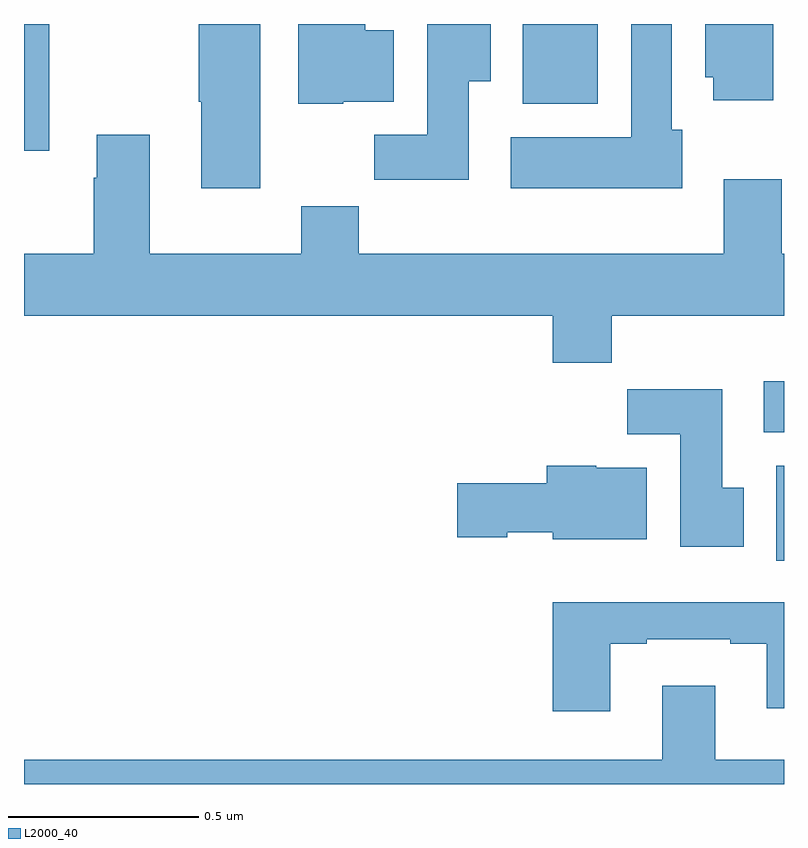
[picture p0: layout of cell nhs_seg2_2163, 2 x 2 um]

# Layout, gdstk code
import gdstk
lib = gdstk.Library(unit=1e-6, precision=1e-09)
def R(c, l, rs):  # rectangles x0, y0, x1, y1
    for r in rs: c.add(gdstk.rectangle(r[:2], r[2:], *l))
def P(c, l, *ps):  # polygons
    for p in ps: c.add(gdstk.Polygon(p, *l))
L2000_40 = (2000, 40)

nhs_seg2_2163 = lib.new_cell('nhs_seg2_2163')
R(nhs_seg2_2163, L2000_40, [(139.979,584.388,140,584.638), (139.947,584.726,140,584.86), (138,585.467,138.067,585.8), (139.313,585.59,139.51,585.8)])
P(nhs_seg2_2163, L2000_40, [(139.171,585.649),(139.228,585.649),(139.228,585.8),(139.061,585.8),(139.061,585.508),(138.922,585.508),(138.922,585.39),(139.171,585.39)],
  [(138.622,585.8),(138.46,585.8),(138.46,585.595),(138.467,585.595),(138.467,585.368),(138.622,585.368)],
  [(139.732,585.522),(139.705,585.522),(139.705,585.8),(139.598,585.8),(139.598,585.502),(139.281,585.502),(139.281,585.368),(139.732,585.368)],
  [(139.972,585.8),(139.793,585.8),(139.793,585.66),(139.814,585.66),(139.814,585.6),(139.972,585.6)],
  [(138.84,585.596),(138.973,585.596),(138.973,585.784),(138.898,585.784),(138.898,585.8),(138.722,585.8),(138.722,585.59),(138.84,585.59)],
  [(139.547,585.032),(140,585.032),(140,585.196),(139.994,585.196),(139.994,585.391),(139.841,585.391),(139.841,585.196),(138.881,585.196),(138.881,585.32),(138.73,585.32),(138.73,585.196),(138.331,585.196),(138.331,585.508),(138.191,585.508),(138.191,585.395),(138.184,585.395),(138.184,585.196),(138,585.196),(138,585.032),(139.391,585.032),(139.391,584.908),(139.547,584.908)],
  [(139.894,584.58),(139.837,584.58),(139.837,584.839),(139.588,584.839),(139.588,584.72),(139.727,584.72),(139.727,584.424),(139.894,584.424)],
  [(139.639,584.632),(139.506,584.632),(139.506,584.638),(139.376,584.638),(139.376,584.592),(139.14,584.592),(139.14,584.45),(139.272,584.45),(139.272,584.462),(139.392,584.462),(139.392,584.444),(139.639,584.444)],
  [(139.543,584.169),(139.639,584.169),(139.639,584.181),(139.859,584.181),(139.859,584.169),(139.955,584.169),(139.955,584),(140,584),(140,584.278),(139.391,584.278),(139.391,583.992),(139.543,583.992)],
  [(140,583.864),(139.819,583.864),(139.819,584.059),(139.679,584.059),(139.679,583.864),(138,583.864),(138,583.8),(140,583.8)])

lib.write_gds('nhs_seg2_2163.gds')
